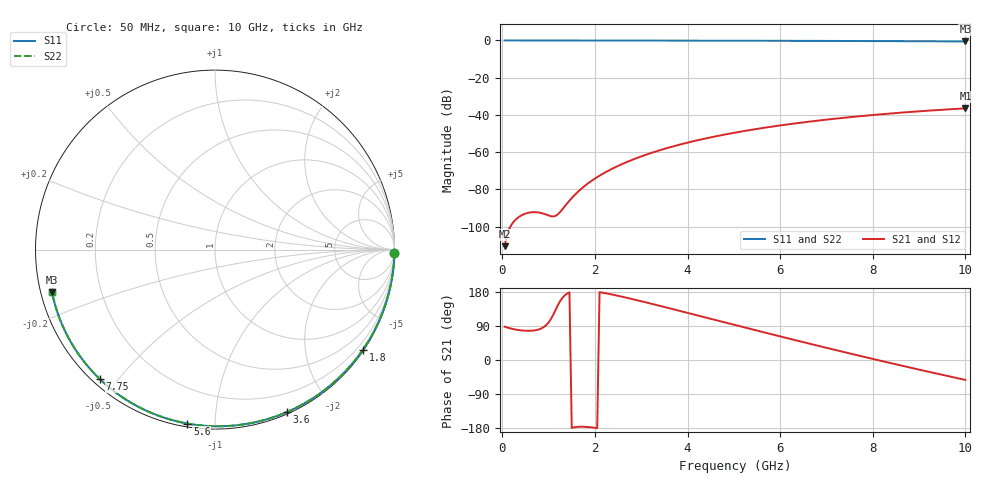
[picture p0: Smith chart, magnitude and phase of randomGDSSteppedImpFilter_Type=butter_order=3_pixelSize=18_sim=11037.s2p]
! freq	dB(S11)	phase(S11)	dB(S12)	phase(S12)
!  dB(S21)	phase(S21)	dB(S22)	phase(S22)
!S-par simulation data
#  GHz  S  DB  R 50
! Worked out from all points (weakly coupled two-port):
!   200 points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, 50 MHz to 10 GHz, reference 50 ohm
!   highest |S21| = -36.49 dB at 10 GHz (marker M1); lowest = -110.5 dB at 50 MHz (marker M2)
!   lowest |S11| = -0.6 dB at 10 GHz (marker M3), VSWR 31.59, Z = 1.61 - j6.46 ohm
!   |S11| at or under -10 dB: nowhere
!   |S22| runs from -0.6 to 0.0 dB; largest |S21 - S12| = 0
!   S11 on the Smith chart (normalised r, x): 50 MHz: open; 1.8 GHz: 0.03, -3.26; 3.6 GHz: 0.02, -1.53; 5.6 GHz: 0.02, -0.85; 7.75 GHz: 0.02, -0.45; 10 GHz: 0.03, -0.13
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0.05  -0.00 -1.0  -110.53 88.0  -110.53 88.0  -0.00 -1.0
0.45  -0.01 -8.7  -93.52 77.6  -93.52 77.6  -0.01 -8.7
0.85  -0.02 -16.3  -92.77 83.7  -92.77 83.7  -0.02 -16.3
1.65  -0.04 -31.3  -80.92 -176.1  -80.92 -176.1  -0.04 -31.3
1.7  -0.04 -32.3  -79.81 -175.9  -79.81 -175.9  -0.04 -32.3
1.75  -0.04 -33.2  -78.76 -176.0  -78.76 -176.0  -0.04 -33.2
1.8  -0.04 -34.1  -77.76 -176.3  -77.76 -176.3  -0.04 -34.1
2.1  -0.05 -39.6  -72.65 179.1  -72.65 179.1  -0.05 -39.6
2.3  -0.06 -43.3  -69.85 174.5  -69.85 174.5  -0.06 -43.3
2.5  -0.06 -46.9  -67.39 169.4  -67.39 169.4  -0.06 -46.9
2.9  -0.07 -54.0  -63.22 158.1  -63.22 158.1  -0.07 -54.0
3.4  -0.08 -62.8  -58.99 143.0  -58.99 143.0  -0.08 -62.8
3.6  -0.09 -66.3  -57.52 136.8  -57.52 136.8  -0.09 -66.3
4.3  -0.11 -78.1  -53.15 115.0  -53.15 115.0  -0.11 -78.1
5.05  -0.14 -90.3  -49.41 91.6  -49.41 91.6  -0.14 -90.3
5.6  -0.16 -99.0  -47.13 74.5  -47.13 74.5  -0.16 -99.0
6.15  -0.19 -107.5  -45.14 57.7  -45.14 57.7  -0.19 -107.5
6.7  -0.23 -115.9  -43.40 41.1  -43.40 41.1  -0.23 -115.9
7.75  -0.30 -131.6  -40.62 10.1  -40.62 10.1  -0.30 -131.6
8.35  -0.36 -140.5  -39.30 -7.2  -39.30 -7.2  -0.36 -140.5
9.2  -0.45 -153.1  -37.72 -30.9  -37.72 -30.9  -0.45 -153.1
10  -0.55 -165.3  -36.49 -52.5  -36.49 -52.5  -0.55 -165.3
